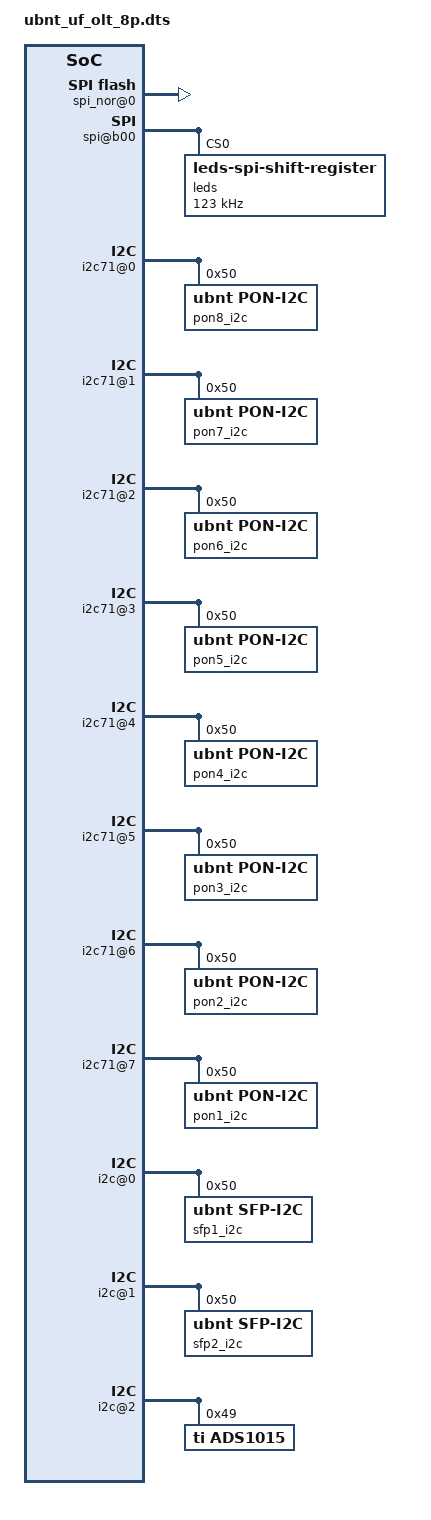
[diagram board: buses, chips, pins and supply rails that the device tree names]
/dts-v1/;
/plugin/;

/ {
	compatible = "ubiquiti,ufolt8p";

	fragment@0 {
		target-path = "/palmbus@1E000000/spi@b00";
		__overlay__ {
			#address-cells = <1>;
			#size-cells = <0>;
			leds {
				compatible = "leds-spi-shift-register";
				status = "ok";
				reg = <0>;
				spi-max-frequency = <123000>;
				words = <3>;
				#address-cells = <1>;
				#size-cells = <0>;
				pon1_green {
					reg = <0>;
				};
				pon1_white {
					reg = <1>;
				};
				pon2_green {
					reg = <2>;
				};
				pon2_white {
					reg = <3>;
				};
				pon3_green {
					reg = <4>;
				};
				pon3_white {
					reg = <5>;
				};
				pon4_green {
					reg = <6>;
				};
				pon4_white {
					reg = <7>;
				};
				pon5_green {
					reg = <8>;
				};
				pon5_white {
					reg = <9>;
				};
				pon6_green {
					reg = <10>;
				};
				pon6_white {
					reg = <11>;
				};
				pon7_green {
					reg = <12>;
				};
				pon7_white {
					reg = <13>;
				};
				pon8_green {
					reg = <14>;
				};
				pon8_white {
					reg = <15>;
				};
				sfp1_green {
					reg = <16>;
				};
				sfp1_white {
					reg = <17>;
				};
				sfp2_green {
					reg = <18>;
				};
				sfp2_white {
					reg = <19>;
				};
				mgmt_green {
					reg = <20>;
				};
				mgmt_orange {
					reg = <21>;
				};
			};
		};
	};
	fragment@1 {
		target-path = "/palmbus@1E000000/i2c@900/i2c-switch@71/i2c71@0";
		__overlay__ {
			#address-cells = <1>;
			#size-cells = <0>;
			pon8_i2c: pon@1 {
				compatible = "ubnt,pon-i2c";
				reg = <0x50>;
			};
		};
	};
	fragment@2 {
		target-path = "/palmbus@1E000000/i2c@900/i2c-switch@71/i2c71@1";
		__overlay__ {
			#address-cells = <1>;
			#size-cells = <0>;
			pon7_i2c: pon@2 {
				compatible = "ubnt,pon-i2c";
				reg = <0x50>;
			};
		};
	};
	fragment@3 {
		target-path = "/palmbus@1E000000/i2c@900/i2c-switch@71/i2c71@2";
		__overlay__ {
			#address-cells = <1>;
			#size-cells = <0>;
			pon6_i2c: pon@3 {
				compatible = "ubnt,pon-i2c";
				reg = <0x50>;
			};
		};
	};
	fragment@4 {
		target-path = "/palmbus@1E000000/i2c@900/i2c-switch@71/i2c71@3";
		__overlay__ {
			#address-cells = <1>;
			#size-cells = <0>;
			pon5_i2c: pon@4 {
				compatible = "ubnt,pon-i2c";
				reg = <0x50>;
			};
		};
	};
	fragment@5 {
		target-path = "/palmbus@1E000000/i2c@900/i2c-switch@71/i2c71@4";
		__overlay__ {
			#address-cells = <1>;
			#size-cells = <0>;
			pon4_i2c: pon@5 {
				compatible = "ubnt,pon-i2c";
				reg = <0x50>;
			};
		};
	};
	fragment@6 {
		target-path = "/palmbus@1E000000/i2c@900/i2c-switch@71/i2c71@5";
		__overlay__ {
			#address-cells = <1>;
			#size-cells = <0>;
			pon3_i2c: pon@6 {
				compatible = "ubnt,pon-i2c";
				reg = <0x50>;
			};
		};
	};
	fragment@7 {
		target-path = "/palmbus@1E000000/i2c@900/i2c-switch@71/i2c71@6";
		__overlay__ {
			#address-cells = <1>;
			#size-cells = <0>;
			pon2_i2c: pon@7 {
				compatible = "ubnt,pon-i2c";
				reg = <0x50>;
			};
		};
	};
	fragment@8 {
		target-path = "/palmbus@1E000000/i2c@900/i2c-switch@71/i2c71@7";
		__overlay__ {
			#address-cells = <1>;
			#size-cells = <0>;
			pon1_i2c: pon@8 {
				compatible = "ubnt,pon-i2c";
				reg = <0x50>;
			};
		};
	};
	fragment@9 {
		target-path = "/palmbus@1E000000/i2c@900/i2c-switch@72/i2c@0";
		__overlay__ {
			#address-cells = <1>;
			#size-cells = <0>;
			sfp1_i2c: sfp@1 {
				compatible = "ubnt,sfp-i2c";
				reg = <0x50>;
			};
		};
	};
	fragment@10 {
		target-path = "/palmbus@1E000000/i2c@900/i2c-switch@72/i2c@1";
		__overlay__ {
			#address-cells = <1>;
			#size-cells = <0>;
			sfp2_i2c: sfp@2 {
				compatible = "ubnt,sfp-i2c";
				reg = <0x50>;
			};
		};
	};
	fragment@11 {
		target-path = "/";
		__overlay__ {
			ubnt_platform {
				compatible = "ubnt_platform_olt";
				#address-cells = <1>;
				#size-cells = <0>;
				spi_nor@0 {
					status = "okay";
					spi_nor = <&spi_nor>;
				};
				sfp@1 {
					i2c = <&sfp1_i2c>;
					gpio_present  = <&gpio_i2c_21 8 1>;
					reg = <1>;
				};
				sfp@2 {
					i2c = <&sfp2_i2c>;
					gpio_present  = <&gpio_i2c_21 9 1>;
					reg = <2>;
				};
				pon@1 {
					i2c = <&pon1_i2c>;
					gpio_present  = <&gpio_i2c_21 7 1>;
					reg = <1>;
				};
				pon@2 {
					i2c = <&pon2_i2c>;
					gpio_present  = <&gpio_i2c_21 6 1>;
					reg = <2>;
				};
				pon@3 {
					i2c = <&pon3_i2c>;
					gpio_present  = <&gpio_i2c_21 5 1>;
					reg = <3>;
				};
				pon@4 {
					i2c = <&pon4_i2c>;
					gpio_present  = <&gpio_i2c_21 4 1>;
					reg = <4>;
				};
				pon@5 {
					i2c = <&pon5_i2c>;
					gpio_present  = <&gpio_i2c_21 3 1>;
					reg = <5>;
				};
				pon@6 {
					i2c = <&pon6_i2c>;
					gpio_present  = <&gpio_i2c_21 2 1>;
					reg = <6>;
				};
				pon@7 {
					i2c = <&pon7_i2c>;
					gpio_present  = <&gpio_i2c_21 1 1>;
					reg = <7>;
				};
				pon@8 {
					i2c = <&pon8_i2c>;
					gpio_present  = <&gpio_i2c_21 0 1>;
					reg = <8>;
				};
			};
		};
	};
	fragment@12 {
		target-path = "/palmbus@1E000000/i2c@900/i2c-switch@72/i2c@2";
		__overlay__ {
			#address-cells = <1>;
			#size-cells = <0>;
			ads1015@49 {
				compatible = "ti,ads1015";
				reg = <0x49>;
				#address-cells = <1>;
				#size-cells = <0>;
				channel@4 {
					reg = <4>;
					ti,gain = <1>;
				};
				channel@5 {
					reg = <5>;
					ti,gain = <1>;
				};
				channel@6 {
					reg = <6>;
					ti,gain = <1>;
				};
				channel@7 {
					reg = <7>;
					ti,gain = <1>;
				};
			};
		};
	};
};
